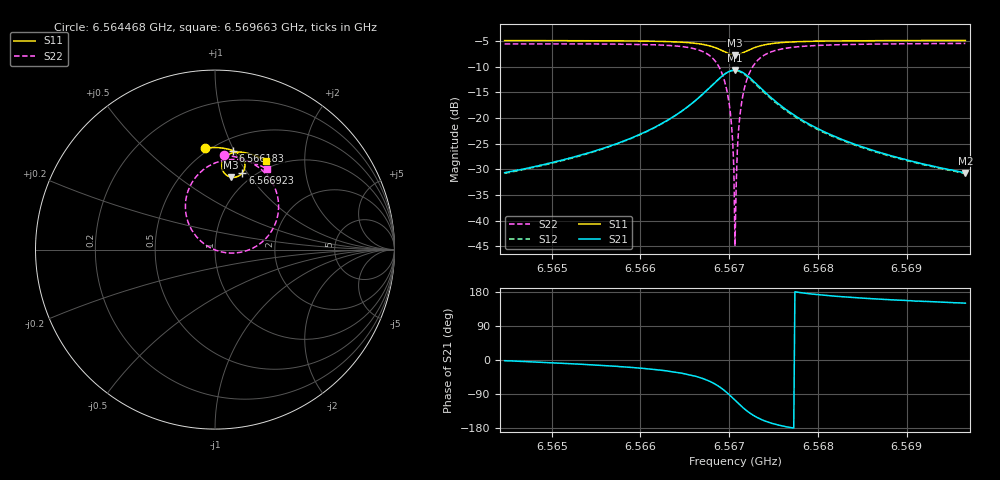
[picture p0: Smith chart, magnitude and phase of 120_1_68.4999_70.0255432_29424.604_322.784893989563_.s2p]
#  HZ  S  RI  R  50.00
! Rohde & Schwarz Vector Network Analyzer
! Rohde-Schwarz,ZNB20-2Port,1311601062101988,3.16
! Created: UTC 3/20/2024, 4:53:55 PM
! freq[Hz]  re:S11  im:S11  re:S21  im:S21  re:S12  im:S12  re:S22  im:S22
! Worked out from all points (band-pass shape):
!   401 points, 6.564468 GHz to 6.569663 GHz, reference 50 ohm
!   highest |S21| = -10.65 dB at 6.567066 GHz (marker M1); lowest = -30.7 dB at 6.569663 GHz (marker M2)
!   |S21| within 3 dB of the highest: 6.566805 GHz to 6.567326 GHz (520.4 kHz wide, 0.00792 % of centre)
!   lowest |S11| = -7.7 dB at 6.567066 GHz (marker M3), VSWR 2.41, Z = 41.7 + j40.6 ohm
!   |S11| at or under -10 dB: nowhere
!   |S22| runs from -45.0 to -5.4 dB; largest |S21 - S12| = 0.014
!   S11 on the Smith chart (normalised r, x): 6.564468 GHz: 0.47, +0.79; 6.566183 GHz: 0.61, +0.99; 6.566923 GHz: 0.88, +0.95; 6.569663 GHz: 0.89, +1.31
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6.5644684e9  -0.0536 0.5668  0.0293 -0.000914  0.0289 -0.00147  0.0484 0.5263
6.5653385e9  0.0184 0.5677  0.0431 -0.0086  0.0422 -0.00919  0.1331 0.5113
6.5661826e9  0.0991 0.5515  0.0749 -0.0361  0.0738 -0.0369  0.2494 0.4534
6.5662086e9  0.102 0.5504  0.0767 -0.0381  0.0755 -0.0389  0.2542 0.4493
6.566715e9  0.1619 0.4947  0.1127 -0.1343  0.1099 -0.137  0.3537 0.2617
6.5668319e9  0.1662 0.4609  0.1014 -0.1939  0.0963 -0.1977  0.3373 0.1481
6.5669228e9  0.153 0.4278  0.0614 -0.2503  0.0524 -0.2534  0.2635 0.0431
6.5670007e9  0.1226 0.4058  -0.00795 -0.2849  -0.0203 -0.2841  0.1355 -0.0161
6.5670267e9  0.1091 0.4026  -0.0368 -0.2882  -0.0498 -0.2852  0.0832 -0.0191
6.5670397e9  0.102 0.4023  -0.0517 -0.2876  -0.0647 -0.2835  0.0566 -0.0167
6.5670527e9  0.0949 0.4027  -0.0665 -0.2857  -0.0795 -0.2804  0.0302 -0.0114
6.5670656e9  0.0878 0.4039  -0.0813 -0.2821  -0.094 -0.2757  0.00446 -0.00345
6.5670916e9  0.0742 0.4086  -0.1093 -0.2709  -0.1209 -0.2623  -0.0434 0.0202
6.5671046e9  0.0681 0.4121  -0.1221 -0.2633  -0.1329 -0.2539  -0.0649 0.0353
6.5671176e9  0.0622 0.4161  -0.134 -0.2548  -0.1439 -0.2445  -0.0844 0.0522
6.5671436e9  0.0525 0.4256  -0.1546 -0.235  -0.1625 -0.2234  -0.1171 0.0898
6.5671955e9  0.0404 0.448  -0.1808 -0.1903  -0.1849 -0.1782  -0.1558 0.1718
6.5672604e9  0.0381 0.4751  -0.1909 -0.137  -0.1911 -0.1261  -0.1637 0.266
6.5675072e9  0.0763 0.5305  -0.1464 -0.0288  -0.143 -0.0243  -0.0609 0.4482
6.5679357e9  0.1393 0.5434  -0.0838 0.0088  -0.0816 0.0101  0.079 0.5014
6.5688058e9  0.2222 0.5243  -0.0406 0.0154  -0.0397 0.0157  0.2103 0.4848
6.5696629e9  0.2865 0.4941  -0.0253 0.0146  -0.0248 0.0148  0.2878 0.4502
